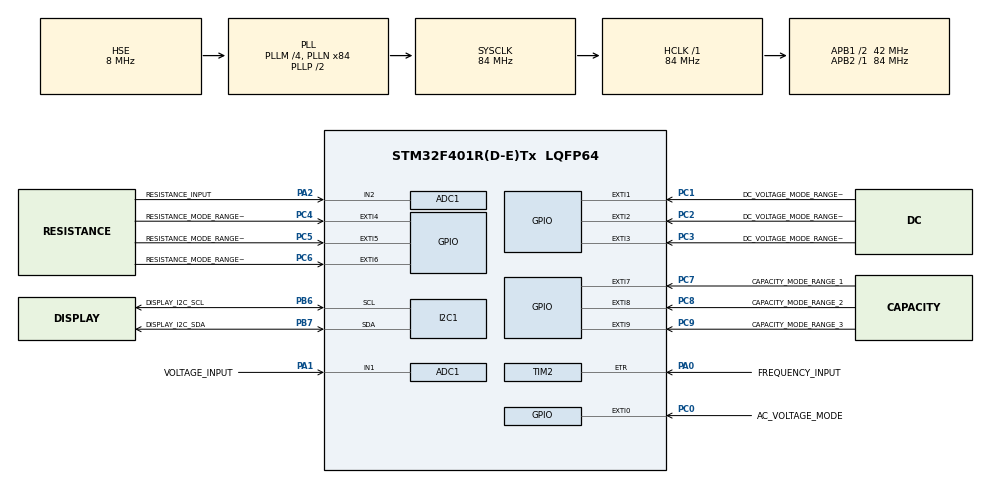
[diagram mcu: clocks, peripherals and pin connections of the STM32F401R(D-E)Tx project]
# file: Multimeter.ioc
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ADC1.Channel-0\#ChannelRegularConversion=ADC_CHANNEL_1
ADC1.Channel-1\#ChannelRegularConversion=ADC_CHANNEL_2
ADC1.DiscontinuousConvMode=ENABLE
ADC1.NbrOfConversion=2
ADC1.NbrOfConversionFlag=1
ADC1.Rank-0\#ChannelRegularConversion=1
ADC1.Rank-1\#ChannelRegularConversion=2
ADC1.SamplingTime-0\#ChannelRegularConversion=ADC_SAMPLETIME_3CYCLES
ADC1.SamplingTime-1\#ChannelRegularConversion=ADC_SAMPLETIME_3CYCLES
ADC1.ScanConvMode=ENABLE
ADC1.master=1
Mcu.Family=STM32F4
Mcu.Name=STM32F401R(D-E)Tx
Mcu.Package=LQFP64
NVIC.ADC_IRQn=true\:2\:0\:true\:false\:true\:true\:true\:true
NVIC.EXTI0_IRQn=true\:0\:0\:false\:false\:true\:true\:true\:true
NVIC.EXTI1_IRQn=true\:0\:0\:false\:false\:true\:true\:true\:true
NVIC.EXTI2_IRQn=true\:0\:0\:false\:false\:true\:true\:true\:true
NVIC.EXTI3_IRQn=true\:0\:0\:false\:false\:true\:true\:true\:true
NVIC.EXTI4_IRQn=true\:0\:0\:false\:false\:true\:true\:true\:true
NVIC.EXTI9_5_IRQn=true\:0\:0\:false\:false\:true\:true\:true\:true
NVIC.PriorityGroup=NVIC_PRIORITYGROUP_4
NVIC.TIM1_UP_TIM10_IRQn=true\:1\:0\:true\:false\:true\:true\:true\:true
PA0-WKUP.GPIO_Label=FREQUENCY_INPUT
PA0-WKUP.Signal=S_TIM2_CH1_ETR
PA1.GPIO_Label=VOLTAGE_INPUT
PA1.Signal=ADCx_IN1
PA13.Mode=Serial_Wire
PA13.Signal=SYS_JTMS-SWDIO
PA14.Mode=Serial_Wire
PA14.Signal=SYS_JTCK-SWCLK
PA2.GPIO_Label=RESISTANCE_INPUT
PA2.Signal=ADCx_IN2
PB6.GPIO_Label=DISPLAY_I2C_SCL
PB6.Mode=I2C
PB6.Signal=I2C1_SCL
PB7.GPIO_Label=DISPLAY_I2C_SDA
PB7.Mode=I2C
PB7.Signal=I2C1_SDA
PC0.GPIO_Label=AC_VOLTAGE_MODE
PC0.GPIO_ModeDefaultEXTI=GPIO_MODE_IT_FALLING
PC0.GPIO_PuPd=GPIO_PULLUP
PC0.Signal=GPXTI0
PC1.GPIO_Label=DC_VOLTAGE_MODE_RANGE_1
PC1.GPIO_ModeDefaultEXTI=GPIO_MODE_IT_FALLING
PC1.GPIO_PuPd=GPIO_PULLUP
PC1.Signal=GPXTI1
PC14-OSC32_IN.Mode=LSE-External-Oscillator
PC14-OSC32_IN.Signal=RCC_OSC32_IN
PC15-OSC32_OUT.Mode=LSE-External-Oscillator
PC15-OSC32_OUT.Signal=RCC_OSC32_OUT
PC2.GPIO_Label=DC_VOLTAGE_MODE_RANGE_2
PC2.GPIO_ModeDefaultEXTI=GPIO_MODE_IT_FALLING
PC2.GPIO_PuPd=GPIO_PULLUP
PC2.Signal=GPXTI2
PC3.GPIO_Label=DC_VOLTAGE_MODE_RANGE_3
PC3.GPIO_ModeDefaultEXTI=GPIO_MODE_IT_FALLING
PC3.GPIO_PuPd=GPIO_PULLUP
PC3.Signal=GPXTI3
PC4.GPIO_Label=RESISTANCE_MODE_RANGE_1
PC4.GPIO_ModeDefaultEXTI=GPIO_MODE_IT_FALLING
PC4.GPIO_PuPd=GPIO_PULLUP
PC4.Signal=GPXTI4
PC5.GPIO_Label=RESISTANCE_MODE_RANGE_2
PC5.GPIO_ModeDefaultEXTI=GPIO_MODE_IT_FALLING
PC5.GPIO_PuPd=GPIO_PULLUP
PC5.Signal=GPXTI5
PC6.GPIO_Label=RESISTANCE_MODE_RANGE_3
PC6.GPIO_ModeDefaultEXTI=GPIO_MODE_IT_FALLING
PC6.GPIO_PuPd=GPIO_PULLUP
PC6.Signal=GPXTI6
PC7.GPIO_Label=CAPACITY_MODE_RANGE_1
PC7.GPIO_ModeDefaultEXTI=GPIO_MODE_IT_FALLING
PC7.GPIO_PuPd=GPIO_PULLUP
PC7.Signal=GPXTI7
PC8.GPIO_Label=CAPACITY_MODE_RANGE_2
PC8.GPIO_ModeDefaultEXTI=GPIO_MODE_IT_FALLING
PC8.GPIO_PuPd=GPIO_PULLUP
PC8.Signal=GPXTI8
PC9.GPIO_Label=CAPACITY_MODE_RANGE_3
PC9.GPIO_ModeDefaultEXTI=GPIO_MODE_IT_FALLING
PC9.GPIO_PuPd=GPIO_PULLUP
PC9.Signal=GPXTI9
PH0\ -\ OSC_IN.Mode=HSE-External-Oscillator
PH0\ -\ OSC_IN.Signal=RCC_OSC_IN
PH1\ -\ OSC_OUT.Mode=HSE-External-Oscillator
PH1\ -\ OSC_OUT.Signal=RCC_OSC_OUT
ProjectManager.HeapSize=0x200
ProjectManager.StackSize=0x400
ProjectManager.TargetToolchain=STM32CubeIDE
RCC.48MHZClocksFreq_Value=42000000
RCC.AHBFreq_Value=84000000
RCC.APB1CLKDivider=RCC_HCLK_DIV2
RCC.APB1Freq_Value=42000000
RCC.APB1TimFreq_Value=84000000
RCC.APB2Freq_Value=84000000
RCC.APB2TimFreq_Value=84000000
RCC.CortexFreq_Value=84000000
RCC.HCLKFreq_Value=84000000
RCC.HSE_VALUE=8000000
RCC.HSI_VALUE=16000000
RCC.PLLM=4
RCC.PLLN=84
RCC.PLLSourceVirtual=RCC_PLLSOURCE_HSE
RCC.SYSCLKFreq_VALUE=84000000
RCC.SYSCLKSource=RCC_SYSCLKSOURCE_PLLCLK
RCC.VCOOutputFreq_Value=168000000
SH.ADCx_IN1.0=ADC1_IN1,IN1
SH.ADCx_IN2.0=ADC1_IN2,IN2
SH.S_TIM2_CH1_ETR.0=TIM2_ETR,ClockSourceETR_Mode2
TIM1.Period=9999
TIM1.Prescaler=8399
TIM1.TIM_MasterOutputTrigger=TIM_TRGO_ENABLE
TIM1.TIM_MasterSlaveMode=TIM_MASTERSLAVEMODE_ENABLE
TIM2.TIM_MasterOutputTrigger=TIM_TRGO_UPDATE
VP_TIM1_VS_ClockSourceINT.Mode=Internal
VP_TIM2_VS_ClockSourceITR.Mode=TriggerSource_ITR0
VP_TIM2_VS_ControllerModeGated.Mode=Gated Mode
board=custom

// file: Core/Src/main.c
/* USER CODE BEGIN Header */
/**
  ******************************************************************************
  * @file           : main.c
  * @brief          : Main program body
  ******************************************************************************
  * @attention
  *
  * Copyright (c) 2023 STMicroelectronics.
  * All rights reserved.
  *
  * This software is licensed under terms that can be found in the LICENSE file
  * in the root directory of this software component.
  * If no LICENSE file comes with this software, it is provided AS-IS.
  *
  ******************************************************************************
  */
/* USER CODE END Header */
#include "main.h"
#include "adc.h"
#include "i2c.h"
#include "tim.h"
#include "gpio.h"

/* USER CODE BEGIN Includes */

#include <stdbool.h>
#include <stdio.h>
#include <string.h>

#include "ssd1306.h"

/* USER CODE END Includes */

/* USER CODE BEGIN PD */
/*Общий поправочный коэффициент (например, если нужно пересчитать 3,3 в 2 и т.п.)
 * если не нужен, то пусть останется 1
 * */
#define K		1

#define Kc		1

#define Kr1		1
#define Kr2		1
#define Kr3		1

#define Ku1		1
#define Ku2		1
#define Ku3		1

#define Ku_a	1
/* USER CODE END PD */

/* USER CODE BEGIN PV */

enum modes {
	AC_VOLTAGE_MODE = 0,
	DC_VOLTAGE_MODE_RANGE_1,
	DC_VOLTAGE_MODE_RANGE_2,
	DC_VOLTAGE_MODE_RANGE_3,
	RESISTANCE_MODE_RANGE_1,
	RESISTANCE_MODE_RANGE_2,
	RESISTANCE_MODE_RANGE_3,
	CAPACITY_MODE_RANGE_1,
	CAPACITY_MODE_RANGE_2,
	CAPACITY_MODE_RANGE_3,
};

enum adc_channels {
	VOLTAGE_CHANNEL = 1,
	RESISTANCE_CHANNEL
};

static char str[9] 		       = {0};

static uint32_t adc_V_buf[100] = {0};
static uint32_t adc_R_buf[100] = {0};
static uint32_t freq 		   = 0;
static uint8_t  i 			   = 0;
static uint8_t  q 			   = 0;
static uint8_t  mode 		   = DC_VOLTAGE_MODE_RANGE_1;
static uint8_t 	channel		   = VOLTAGE_CHANNEL;

static bool mode_chosen = true;
static bool adc_ready 	= false;
static bool tim_ready 	= false;

static bool change = false;

static float Capacity   = 0;
static float Resistance = 0;
static float Voltage    = 0;
static float Voltage_AC = 0;

/* USER CODE END PV */

void SystemClock_Config(void);
/* USER CODE BEGIN PFP */

void HAL_GPIO_EXTI_Callback(uint16_t GPIO_Pin)
{
	switch (GPIO_Pin) {
		case AC_VOLTAGE_MODE_Pin:
			mode = AC_VOLTAGE_MODE;
			break;
		case DC_VOLTAGE_MODE_RANGE_1_Pin:
			mode = DC_VOLTAGE_MODE_RANGE_1;
			break;
		case DC_VOLTAGE_MODE_RANGE_2_Pin:
			mode = DC_VOLTAGE_MODE_RANGE_2;
			break;
		case DC_VOLTAGE_MODE_RANGE_3_Pin:
			mode = DC_VOLTAGE_MODE_RANGE_3;
			break;
		case RESISTANCE_MODE_RANGE_1_Pin:
			mode = RESISTANCE_MODE_RANGE_1;
			break;
		case RESISTANCE_MODE_RANGE_2_Pin:
			mode = RESISTANCE_MODE_RANGE_2;
			break;
		case RESISTANCE_MODE_RANGE_3_Pin:
			mode = RESISTANCE_MODE_RANGE_3;
			break;
		case CAPACITY_MODE_RANGE_1_Pin:
			mode = CAPACITY_MODE_RANGE_1;
			break;
		case CAPACITY_MODE_RANGE_2_Pin:
			mode = CAPACITY_MODE_RANGE_2;
			break;
		case CAPACITY_MODE_RANGE_3_Pin:
			mode = CAPACITY_MODE_RANGE_3;
			break;
		default:
			Error_Handler();
	}
	mode_chosen = true;
}

void HAL_ADC_ConvCpltCallback(ADC_HandleTypeDef* hadc)
{
	if (hadc == &hadc1) {
		if (channel == VOLTAGE_CHANNEL) {
			if (i != 100) {
				adc_V_buf[i] = HAL_ADC_GetValue(hadc);
				i++;
				HAL_ADC_Start_IT(&hadc1);
			}
			channel++;
		}
		else if (channel == RESISTANCE_CHANNEL){
			if (q != 100) {
				adc_R_buf[q] = HAL_ADC_GetValue(hadc);
				q++;
				HAL_ADC_Start_IT(&hadc1);
			}
			channel--;
		}

		if ((q == 100) && (i == 100)) {
			adc_ready = true;
			q = 0;
			i = 0;
			if (change) {
				channel = VOLTAGE_CHANNEL;
				change = false;
			}
			else {
				channel = RESISTANCE_CHANNEL;
				change = true;
			}
		}

	}
	else {
		Error_Handler();
	}
}

void HAL_TIM_PeriodElapsedCallback(TIM_HandleTypeDef *htim)
{
	if(htim == &htim1)
    {
		freq = TIM2->CNT;

		HAL_TIM_Base_Stop_IT(&htim1);

		tim_ready = true;
    }
	else {
		Error_Handler();
	}
}

static float voltage_channel_average(void)
{
	uint64_t voltage_tmp = 0;

	for (uint8_t j = 0; j < 100; j++) {
		voltage_tmp += adc_V_buf[j];
	}

	return (float)((voltage_tmp * 3.3) / (100 * 4095));
}

static float resistance_channel_average(void)
{
	uint64_t voltage_tmp = 0;

	for (uint8_t j = 0; j < 100; j++) {
		voltage_tmp += adc_R_buf[j];
	}

	return (float)((voltage_tmp * 3.3) / (100 * 4095));
}

static float voltage_max(void)
{
	uint32_t voltage_tmp = 0;

	for (uint8_t j = 0; j < 100; j++) {
		if (adc_V_buf[j] > voltage_tmp) {
			voltage_tmp = adc_V_buf[j];
		}
	}

	return (float)(voltage_tmp * 3.3 / 4095);
}

/* USER CODE END PFP */

/* USER CODE BEGIN 0 */

static void default_display_setup(void)
{
	  ssd1306_Init();

	  ssd1306_Fill(White);

	  ssd1306_SetCursor(5,10);
	  ssd1306_WriteString("Mode:", Font_7x10, Black);

	  ssd1306_SetCursor(50,10);
	  ssd1306_WriteChar('|', Font_7x10, Black);

	  ssd1306_SetCursor(60,10);
	  ssd1306_WriteString("Range:", Font_7x10, Black);

	  ssd1306_DrawRectangle(5, 30, 123, 60, Black);

	  ssd1306_UpdateScreen();
}

/* �?змерение переменного напряжения */
static void ac_voltage_measure(void)
{
	if (mode_chosen) {
		  ssd1306_FillRectangle(40, 3, 48, 8, White);

		  ssd1306_SetCursor(40,10);
		  ssd1306_WriteChar('U', Font_7x10, Black);

		  ssd1306_Line(40, 6, 40, 8, Black);
		  ssd1306_Line(41, 6, 42, 6, Black);
		  ssd1306_Line(43, 7, 44, 7, Black);
		  ssd1306_DrawPixel(44, 6, Black);
		  ssd1306_DrawPixel(44, 5, Black);

		  ssd1306_UpdateScreen();

		  mode_chosen = false;

		  HAL_ADC_Start_IT(&hadc1);
	}
	if (adc_ready) {
		Voltage_AC = (float)(voltage_max() * Ku_a * K / 1.4142);
		snprintf(str, sizeof(str), "%f", Voltage_AC);

		ssd1306_SetCursor(10, 37);
		ssd1306_WriteString(str, Font_11x18, Black);
		ssd1306_UpdateScreen();

		adc_ready = false;

		HAL_ADC_Start_IT(&hadc1);
	}
}

/* �?змерение постоянного напряжения. Первый диапазон */
static void dc_voltage_1_measure(void)
{
	if (mode_chosen) {
		  ssd1306_FillRectangle(40, 3, 48, 8, White);

		  ssd1306_SetCursor(40,10);
		  ssd1306_WriteChar('U', Font_7x10, Black);

		  ssd1306_Line(40, 7, 45, 7, Black);

		  ssd1306_SetCursor(100,11);
		  ssd1306_WriteChar('1', Font_7x10, Black);

		  ssd1306_UpdateScreen();

		  mode_chosen = false;

		  HAL_ADC_Start_IT(&hadc1);
	}

	if (adc_ready) {
	  float voltage = voltage_channel_average();
	  Voltage = voltage * Ku1 * K;
	  snprintf(str, sizeof(str), "%f", Voltage);

	  ssd1306_SetCursor(10, 37);
	  ssd1306_WriteString(str, Font_11x18, Black);
	  ssd1306_UpdateScreen();

	  adc_ready = false;

	  HAL_ADC_Start_IT(&hadc1);
	}
}

/* �?змерение постоянного напряжения. Второй диапазон */
static void dc_voltage_2_measure(void)
{
	if (mode_chosen) {
		  ssd1306_FillRectangle(40, 3, 48, 8, White);

		  ssd1306_SetCursor(40,10);
		  ssd1306_WriteChar('U', Font_7x10, Black);

		  ssd1306_Line(40, 7, 45, 7, Black);

		  ssd1306_SetCursor(100,11);
		  ssd1306_WriteChar('2', Font_7x10, Black);

		  ssd1306_UpdateScreen();

		  mode_chosen = false;

		  HAL_ADC_Start_IT(&hadc1);
	}

	if (adc_ready) {
	  float voltage = voltage_channel_average();
	  Voltage = voltage * Ku2 * K;
	  snprintf(str, sizeof(str), "%f", Voltage);

	  ssd1306_SetCursor(10, 37);
	  ssd1306_WriteString(str, Font_11x18, Black);
	  ssd1306_UpdateScreen();

	  adc_ready = false;

	  HAL_ADC_Start_IT(&hadc1);
	}
}

/* �?змерение постоянного напряжения. Третий диапазон */
static void dc_voltage_3_measure(void)
{
	if (mode_chosen) {
		  ssd1306_FillRectangle(40, 3, 48, 8, White);

		  ssd1306_SetCursor(40,10);
		  ssd1306_WriteChar('U', Font_7x10, Black);

		  ssd1306_Line(40, 7, 45, 7, Black);

		  ssd1306_SetCursor(100,11);
		  ssd1306_WriteChar('3', Font_7x10, Black);

		  ssd1306_UpdateScreen();

		  mode_chosen = false;

		  HAL_ADC_Start_IT(&hadc1);
	}

	if (adc_ready) {
	  float voltage = voltage_channel_average();
	  Voltage = voltage * Ku3 * K;
	  snprintf(str, sizeof(str), "%f", Voltage);

	  ssd1306_SetCursor(10, 37);
	  ssd1306_WriteString(str, Font_11x18, Black);
	  ssd1306_UpdateScreen();

	  adc_ready = false;

	  HAL_ADC_Start_IT(&hadc1);
	}
}

/* �?змерение сопротивления. Первый диапазон */
static void resistance_1_measure(void)
{
	if (mode_chosen) {
		  ssd1306_SetCursor(40,10);
		  ssd1306_WriteChar('R', Font_7x10, Black);

		  ssd1306_SetCursor(100,11);
		  ssd1306_WriteChar('1', Font_7x10, Black);

		  ssd1306_FillRectangle(40, 3, 48, 8, White);

		  ssd1306_UpdateScreen();

		  mode_chosen = false;

		  HAL_ADC_Start_IT(&hadc1);
	}

	if (adc_ready) {
	  float voltage = resistance_channel_average();
	  Resistance = voltage * Kr1 * K;
	  snprintf(str, sizeof(str), "%f", Resistance);

	  ssd1306_SetCursor(10, 37);
	  ssd1306_WriteString(str, Font_11x18, Black);
	  ssd1306_UpdateScreen();

	  adc_ready = false;

	  HAL_ADC_Start_IT(&hadc1);
	}
}

/* �?змерение сопротивления. Второй диапазон */
static void resistance_2_measure(void)
{
	if (mode_chosen) {
		  ssd1306_SetCursor(40,10);
		  ssd1306_WriteChar('R', Font_7x10, Black);

		  ssd1306_SetCursor(100,11);
		  ssd1306_WriteChar('2', Font_7x10, Black);

		  ssd1306_FillRectangle(40, 3, 48, 8, White);

		  ssd1306_UpdateScreen();

		  mode_chosen = false;

		  HAL_ADC_Start_IT(&hadc1);
	}

	if (adc_ready) {
	  float voltage = resistance_channel_average();
	  Resistance = voltage * Kr2 * K;
	  snprintf(str, sizeof(str), "%f", Resistance);

	  ssd1306_SetCursor(10, 37);
	  ssd1306_WriteString(str, Font_11x18, Black);
	  ssd1306_UpdateScreen();

	  adc_ready = false;

	  HAL_ADC_Start_IT(&hadc1);
	}
}

/* �?змерение сопротивления. Третий диапазон */
static void resistance_3_measure(void)
{
	if (mode_chosen) {
		  ssd1306_SetCursor(40,10);
		  ssd1306_WriteChar('R', Font_7x10, Black);

		  ssd1306_SetCursor(100,11);
		  ssd1306_WriteChar('3', Font_7x10, Black);

		  ssd1306_FillRectangle(40, 3, 48, 8, White);

		  ssd1306_UpdateScreen();

		  mode_chosen = false;

		  HAL_ADC_Start_IT(&hadc1);
	}

	if (adc_ready) {
	  float voltage = resistance_channel_average();
	  Resistance = voltage * Kr3 * K;
	  snprintf(str, sizeof(str), "%f", Resistance);

	  ssd1306_SetCursor(10, 37);
	  ssd1306_WriteString(str, Font_11x18, Black);
	  ssd1306_UpdateScreen();

	  adc_ready = false;

	  HAL_ADC_Start_IT(&hadc1);
	}
}

/* �?змерение емкости. Первый диапазон. P.S. Не уверен, нужны ли другие режимы
 * для измерения емкости, потому что частота измеряется в довольно широком диапазоне.
 * Пока оставил один функциональный режим.
 *  */
static void capacity_1_measure(void)
{
	if (mode_chosen) {
		  ssd1306_SetCursor(40,10);
		  ssd1306_WriteChar('C', Font_7x10, Black);

		  ssd1306_SetCursor(100,11);
		  ssd1306_WriteChar('1', Font_7x10, Black);

		  ssd1306_FillRectangle(40, 3, 48, 8, White);

		  ssd1306_UpdateScreen();

		  mode_chosen = false;

		  HAL_TIM_Base_Start_IT(&htim1);
		  HAL_TIM_Base_Start(&htim2);
	}

	if (tim_ready) {
        tim_ready = false;

        /*
         *
         * Получается частота в Гц.
         * */

        Capacity = (float)(freq * Kc);
        snprintf(str, sizeof(str), "%f", Capacity);

        ssd1306_SetCursor(10, 37);
        ssd1306_WriteString(str, Font_11x18, Black);
        ssd1306_UpdateScreen();

        __HAL_TIM_SET_COUNTER(&htim2, 0);
        HAL_TIM_Base_Start_IT(&htim1);
	}
}

static void capacity_2_measure(void)
{
//	if (mode_chosen) {
//		  ssd1306_SetCursor(40,10);
//		  ssd1306_WriteChar('C', Font_7x10, Black);
//
//		  ssd1306_SetCursor(100,11);
//		  ssd1306_WriteChar('2', Font_7x10, Black);
//
//		  ssd1306_UpdateScreen();
//
//		  mode_chosen = false;
//
//		  measure_coefficient = 1.0;
//
//		  HAL_TIM_Base_Start_IT(&htim1);
//		  HAL_TIM_Base_Start(&htim2);
//	}
//
//	if (tim_ready) {
//        tim_ready = false;
//
//        char str[50] = {0};
//
//        snprintf(str, sizeof(str), "FREQUENCY: %lu Hz\n--------------------\n", freq * 2);
//        HAL_UART_Transmit(&huart2, (uint8_t*)str, strlen(str), 1000);
//
//        __HAL_TIM_SET_COUNTER(&htim2, 0);
//        HAL_TIM_Base_Start_IT(&htim1);
//	}
}

static void capacity_3_measure(void)
{
//	if (mode_chosen) {
//		  ssd1306_SetCursor(40,10);
//		  ssd1306_WriteChar('C', Font_7x10, Black);
//
//		  ssd1306_SetCursor(100,11);
//		  ssd1306_WriteChar('3', Font_7x10, Black);
//
//		  ssd1306_UpdateScreen();
//
//		  mode_chosen = false;
//
//		  measure_coefficient = 1.0;
//
//		  HAL_TIM_Base_Start_IT(&htim1);
//		  HAL_TIM_Base_Start(&htim2);
//	}
//
//	if (tim_ready) {
//		tim_ready = false;
//
//        char str[50] = {0};
//
//        snprintf(str, sizeof(str), "FREQUENCY: %lu Hz\n--------------------\n", freq * 2);
//        HAL_UART_Transmit(&huart2, (uint8_t*)str, strlen(str), 1000);
//
//        __HAL_TIM_SET_COUNTER(&htim2, 0);
//        HAL_TIM_Base_Start_IT(&htim1);
//	}
}

/* USER CODE END 0 */

int main(void)
{

  /* MCU Configuration--------------------------------------------------------*/

  /* Reset of all peripherals, Initializes the Flash interface and the Systick. */
  HAL_Init();

  /* Configure the system clock */
  SystemClock_Config();

  /* Initialize all configured peripherals */
  MX_GPIO_Init();
  MX_ADC1_Init();
  MX_I2C1_Init();
  MX_TIM1_Init();
  MX_TIM2_Init();
  /* USER CODE BEGIN 2 */

  default_display_setup();

  /* USER CODE END 2 */

  /* Infinite loop */
  /* USER CODE BEGIN WHILE */

  while (1)
  {
	  switch(mode) {
	  	  case AC_VOLTAGE_MODE:
	  		  ac_voltage_measure();
	  		  break;
	  	  case DC_VOLTAGE_MODE_RANGE_1:
	  		  dc_voltage_1_measure();
	  		  break;
	  	  case DC_VOLTAGE_MODE_RANGE_2:
	  		  dc_voltage_2_measure();
	  		  break;
	  	  case DC_VOLTAGE_MODE_RANGE_3:
	  		  dc_voltage_3_measure();
	  		  break;
	  	  case RESISTANCE_MODE_RANGE_1:
	  		  resistance_1_measure();
	  		  break;
	  	  case RESISTANCE_MODE_RANGE_2:
	  		  resistance_2_measure();
	  		  break;
	  	  case RESISTANCE_MODE_RANGE_3:
	  		  resistance_3_measure();
	  		  break;
	  	  case CAPACITY_MODE_RANGE_1:
	  		  capacity_1_measure();
	  		  break;
	  	  case CAPACITY_MODE_RANGE_2:
	  		  capacity_2_measure();
	  		  break;
	  	  case CAPACITY_MODE_RANGE_3:
	  		  capacity_3_measure();
	  		  break;
	  	  default:
	  		  Error_Handler();
	  }
	  HAL_Delay(200);

    /* USER CODE END WHILE */

  }
}

void SystemClock_Config(void)
{
  RCC_OscInitTypeDef RCC_OscInitStruct = {0};
  RCC_ClkInitTypeDef RCC_ClkInitStruct = {0};

  /** Configure the main internal regulator output voltage
  */
  __HAL_RCC_PWR_CLK_ENABLE();
  __HAL_PWR_VOLTAGESCALING_CONFIG(PWR_REGULATOR_VOLTAGE_SCALE2);

  /** Initializes the RCC Oscillators according to the specified parameters
  * in the RCC_OscInitTypeDef structure.
  */
  RCC_OscInitStruct.OscillatorType = RCC_OSCILLATORTYPE_HSE;
  RCC_OscInitStruct.HSEState = RCC_HSE_ON;
  RCC_OscInitStruct.PLL.PLLState = RCC_PLL_ON;
  RCC_OscInitStruct.PLL.PLLSource = RCC_PLLSOURCE_HSE;
  RCC_OscInitStruct.PLL.PLLM = 4;
  RCC_OscInitStruct.PLL.PLLN = 84;
  RCC_OscInitStruct.PLL.PLLP = RCC_PLLP_DIV2;
  RCC_OscInitStruct.PLL.PLLQ = 4;
  if (HAL_RCC_OscConfig(&RCC_OscInitStruct) != HAL_OK)
  {
    Error_Handler();
  }

  /** Initializes the CPU, AHB and APB buses clocks
  */
  RCC_ClkInitStruct.ClockType = RCC_CLOCKTYPE_HCLK|RCC_CLOCKTYPE_SYSCLK
                              |RCC_CLOCKTYPE_PCLK1|RCC_CLOCKTYPE_PCLK2;
  RCC_ClkInitStruct.SYSCLKSource = RCC_SYSCLKSOURCE_PLLCLK;
  RCC_ClkInitStruct.AHBCLKDivider = RCC_SYSCLK_DIV1;
  RCC_ClkInitStruct.APB1CLKDivider = RCC_HCLK_DIV2;
  RCC_ClkInitStruct.APB2CLKDivider = RCC_HCLK_DIV1;

  if (HAL_RCC_ClockConfig(&RCC_ClkInitStruct, FLASH_LATENCY_2) != HAL_OK)
  {
    Error_Handler();
  }
}

void Error_Handler(void)
{
  __disable_irq();
  while (1)
  {
  }
}
